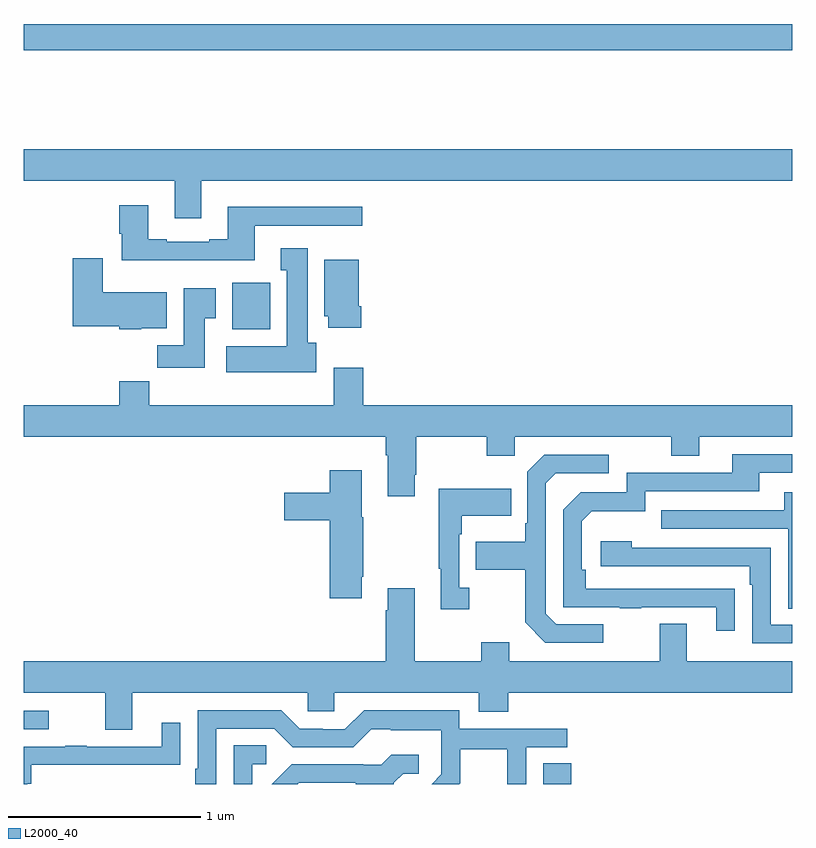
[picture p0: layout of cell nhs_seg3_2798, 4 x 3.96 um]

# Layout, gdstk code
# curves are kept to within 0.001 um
import gdstk
lib = gdstk.Library(unit=1e-6, precision=1e-09)
def R(c, l, rs):  # rectangles x0, y0, x1, y1
    for r in rs: c.add(gdstk.rectangle(r[:2], r[2:], *l))
def P(c, l, *ps):  # polygons
    for p in ps: c.add(gdstk.Polygon(p, *l))
L2000_40 = (2000, 40)

nhs_seg3_2798 = lib.new_cell('nhs_seg3_2798')
R(nhs_seg3_2798, L2000_40, [(257.705,740.4,257.849,740.507), (255,740.685,255.13,740.781), (256.085,742.766,256.282,743.008), (255,744.22,259,744.356)])
P(nhs_seg3_2798, L2000_40, [(255.925,743.54),(259,743.54),(259,743.704),(255,743.704),(255,743.54),(255.785,743.54),(255.785,743.346),(255.925,743.346)],
  [(256.201,743.307),(256.762,743.307),(256.762,743.404),(256.061,743.404),(256.061,743.236),(255.965,743.236),(255.965,743.223),(255.745,743.223),(255.745,743.236),(255.649,743.236),(255.649,743.413),(255.497,743.413),(255.497,743.265),(255.509,743.265),(255.509,743.126),(256.201,743.126)],
  [(256.522,742.698),(256.477,742.698),(256.477,743.188),(256.337,743.188),(256.337,743.075),(256.37,743.075),(256.37,742.678),(256.053,742.678),(256.053,742.544),(256.522,742.544)],
  [(255.612,742.772),(255.745,742.772),(255.745,742.96),(255.412,742.96),(255.412,743.137),(255.254,743.137),(255.254,742.784),(255.498,742.784),(255.498,742.766),(255.612,742.766)],
  [(256.757,742.888),(256.744,742.888),(256.744,743.128),(256.565,743.128),(256.565,742.836),(256.586,742.836),(256.586,742.776),(256.757,742.776)],
  [(255.943,742.825),(256,742.825),(256,742.981),(255.833,742.981),(255.833,742.684),(255.694,742.684),(255.694,742.566),(255.943,742.566)],
  [(257.035,742.009),(257.043,742.009),(257.043,742.208),(257.41,742.208),(257.41,742.109),(257.556,742.109),(257.556,742.208),(258.37,742.208),(258.37,742.109),(258.517,742.109),(258.517,742.208),(259,742.208),(259,742.372),(256.766,742.372),(256.766,742.567),(256.613,742.567),(256.613,742.372),(255.653,742.372),(255.653,742.496),(255.497,742.496),(255.497,742.372),(255,742.372),(255,742.208),(256.883,742.208),(256.883,742.112),(256.895,742.112),(256.895,741.897),(257.035,741.897)],
  [(258.701,741.416),(257.924,741.417),(257.924,741.514),(257.904,741.514),(257.904,741.768),(257.957,741.821),(258.234,741.821),(258.234,741.924),(258.829,741.924),(258.829,742.02),(259,742.02),(259,742.116),(258.689,742.116),(258.689,742.02),(258.138,742.02),(258.138,741.918),(257.898,741.918),(257.808,741.828),(257.808,741.321),(258.103,741.321),(258.103,741.316),(258.215,741.316),(258.215,741.321),(258.605,741.321),(258.605,741.198),(258.701,741.198)],
  [(258.016,741.231),(257.772,741.231),(257.718,741.285),(257.718,741.966),(257.769,742.017),(258.046,742.017),(258.046,742.113),(257.709,742.113),(257.622,742.026),(257.622,741.757),(257.61,741.757),(257.61,741.661),(257.353,741.661),(257.353,741.514),(257.61,741.514),(257.61,741.241),(257.715,741.135),(258.016,741.135)],
  [(256.759,741.478),(256.767,741.478),(256.767,741.789),(256.759,741.789),(256.759,742.033),(256.592,742.033),(256.592,741.915),(256.356,741.915),(256.356,741.773),(256.592,741.773),(256.592,741.366),(256.759,741.366)],
  [(257.32,741.422),(257.268,741.422),(257.268,741.701),(257.281,741.701),(257.281,741.797),(257.537,741.797),(257.537,741.937),(257.16,741.937),(257.16,741.521),(257.171,741.521),(257.171,741.309),(257.32,741.309)],
  [(259,741.919),(258.959,741.919),(258.959,741.825),(258.319,741.825),(258.319,741.729),(258.978,741.729),(258.978,741.313),(259,741.313)],
  [(259,741.228),(258.888,741.228),(258.888,741.63),(258.164,741.63),(258.164,741.664),(258.003,741.664),(258.003,741.534),(258.779,741.534),(258.779,741.437),(258.792,741.437),(258.792,741.132),(259,741.132)],
  [(255.565,740.876),(256.479,740.876),(256.479,740.778),(256.617,740.778),(256.617,740.876),(257.369,740.876),(257.369,740.777),(257.522,740.777),(257.522,740.876),(259,740.876),(259,741.04),(258.451,741.04),(258.451,741.235),(258.311,741.235),(258.311,741.04),(257.527,741.04),(257.527,741.139),(257.38,741.139),(257.38,741.04),(257.035,741.04),(257.035,741.418),(256.895,741.418),(256.895,741.305),(256.883,741.305),(256.883,741.04),(255,741.04),(255,740.876),(255.425,740.876),(255.425,740.682),(255.565,740.682)],
  [(256.002,740.688),(256.305,740.688),(256.401,740.592),(256.716,740.592),(256.809,740.685),(256.909,740.685),(256.909,740.681),(257.172,740.681),(257.172,740.547),(257.174,740.547),(257.174,740.45),(257.124,740.4),(257.268,740.4),(257.273,740.405),(257.273,740.58),(257.517,740.58),(257.517,740.4),(257.616,740.4),(257.616,740.592),(257.83,740.592),(257.83,740.688),(257.268,740.688),(257.268,740.785),(256.771,740.785),(256.671,740.685),(256.556,740.685),(256.556,740.688),(256.437,740.688),(256.341,740.784),(255.906,740.784),(255.906,740.479),(255.893,740.479),(255.893,740.4),(256.002,740.4)],
  [(255.018,740.402),(255.038,740.402),(255.038,740.499),(255.713,740.499),(255.713,740.5),(255.815,740.5),(255.815,740.719),(255.719,740.719),(255.719,740.595),(255.329,740.595),(255.329,740.6),(255.217,740.6),(255.217,740.595),(255,740.595),(255,740.4),(255.018,740.4)],
  [(256.188,740.502),(256.261,740.502),(256.261,740.603),(256.092,740.603),(256.092,740.4),(256.188,740.4)],
  [(256.432,740.406),(256.727,740.406),(256.727,740.4),(256.927,740.4),(256.927,740.407),(256.974,740.454),(257.056,740.454),(257.056,740.551),(256.912,740.551),(256.86,740.499),(256.766,740.499),(256.766,740.502),(256.394,740.502),(256.292,740.4),(256.426,740.4)])

lib.write_gds('nhs_seg3_2798.gds')
